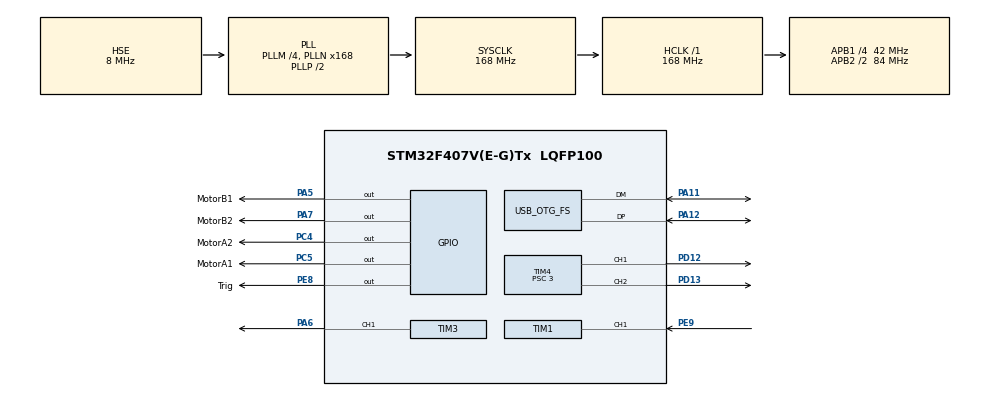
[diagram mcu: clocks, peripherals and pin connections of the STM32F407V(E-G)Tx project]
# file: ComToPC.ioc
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Mcu.Family=STM32F4
Mcu.Name=STM32F407V(E-G)Tx
Mcu.Package=LQFP100
NVIC.OTG_FS_IRQn=true\:0\:0\:false\:false\:true\:false\:true\:true
NVIC.PriorityGroup=NVIC_PRIORITYGROUP_0
NVIC.TIM1_CC_IRQn=true\:0\:0\:false\:false\:true\:true\:true\:true
PA11.Mode=Device_Only
PA11.Signal=USB_OTG_FS_DM
PA12.Mode=Device_Only
PA12.Signal=USB_OTG_FS_DP
PA13.Mode=Serial_Wire
PA13.Signal=SYS_JTMS-SWDIO
PA14.Mode=Serial_Wire
PA14.Signal=SYS_JTCK-SWCLK
PA5.GPIO_Label=MotorB1
PA5.Signal=GPIO_Output
PA6.Signal=S_TIM3_CH1
PA7.GPIO_Label=MotorB2
PA7.Signal=GPIO_Output
PC4.GPIO_Label=MotorA2
PC4.Signal=GPIO_Output
PC5.GPIO_Label=MotorA1
PC5.Signal=GPIO_Output
PD12.Signal=S_TIM4_CH1
PD13.Signal=S_TIM4_CH2
PE8.GPIO_Label=Trig
PE8.Signal=GPIO_Output
PE9.Signal=S_TIM1_CH1
PH0-OSC_IN.Mode=HSE-External-Oscillator
PH0-OSC_IN.Signal=RCC_OSC_IN
PH1-OSC_OUT.Mode=HSE-External-Oscillator
PH1-OSC_OUT.Signal=RCC_OSC_OUT
ProjectManager.HeapSize=0x200
ProjectManager.StackSize=0x400
ProjectManager.TargetToolchain=STM32CubeIDE
RCC.48MHZClocksFreq_Value=48000000
RCC.AHBFreq_Value=168000000
RCC.APB1CLKDivider=RCC_HCLK_DIV4
RCC.APB1Freq_Value=42000000
RCC.APB1TimFreq_Value=84000000
RCC.APB2CLKDivider=RCC_HCLK_DIV2
RCC.APB2Freq_Value=84000000
RCC.APB2TimFreq_Value=168000000
RCC.CortexFreq_Value=168000000
RCC.HCLKFreq_Value=168000000
RCC.HSE_VALUE=8000000
RCC.HSI_VALUE=16000000
RCC.LSE_VALUE=32768
RCC.PLLM=4
RCC.PLLN=168
RCC.PLLQ=7
RCC.SYSCLKFreq_VALUE=168000000
RCC.SYSCLKSource=RCC_SYSCLKSOURCE_PLLCLK
RCC.VCOOutputFreq_Value=336000000
SH.S_TIM1_CH1.0=TIM1_CH1,Input_Capture1_from_TI1
SH.S_TIM3_CH1.0=TIM3_CH1,PWM Generation1 CH1
SH.S_TIM4_CH1.0=TIM4_CH1,PWM Generation1 CH1
SH.S_TIM4_CH2.0=TIM4_CH2,PWM Generation2 CH2
TIM1.Channel-Input_Capture1_from_TI1=TIM_CHANNEL_1
TIM1.Prescaler=167
TIM2.AutoReloadPreload=TIM_AUTORELOAD_PRELOAD_ENABLE
TIM2.Prescaler=83
TIM3.Channel-PWM\ Generation1\ CH1=TIM_CHANNEL_1
TIM3.Period=19999
TIM3.Prescaler=83
TIM4.AutoReloadPreload=TIM_AUTORELOAD_PRELOAD_ENABLE
TIM4.Channel-PWM\ Generation1\ CH1=TIM_CHANNEL_1
TIM4.Channel-PWM\ Generation2\ CH2=TIM_CHANNEL_2
TIM4.Period=2099
TIM4.Prescaler=3
TIM4.Pulse-PWM\ Generation1\ CH1=1049
TIM4.Pulse-PWM\ Generation2\ CH2=1259
USB_DEVICE.CLASS_NAME_FS=CDC
USB_DEVICE.VirtualMode-CDC_FS=Cdc
USB_DEVICE.VirtualModeFS=Cdc_FS
USB_OTG_FS.VirtualMode=Device_Only
VP_TIM1_VS_ClockSourceINT.Mode=Internal
VP_TIM2_VS_ClockSourceINT.Mode=Internal
VP_TIM3_VS_ClockSourceINT.Mode=Internal
VP_TIM4_VS_ClockSourceINT.Mode=Internal
VP_USB_DEVICE_VS_USB_DEVICE_CDC_FS.Mode=CDC_FS
board=STM32F407G-DISC1

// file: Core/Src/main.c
/* USER CODE BEGIN Header */
/**
  ******************************************************************************
  * @file           : main.c
  * @brief          : Main program body
  ******************************************************************************
  * @attention
  *
  * Copyright (c) 2023 STMicroelectronics.
  * All rights reserved.
  *
  * This software is licensed under terms that can be found in the LICENSE file
  * in the root directory of this software component.
  * If no LICENSE file comes with this software, it is provided AS-IS.
  *
  ******************************************************************************
  */
/* USER CODE END Header */
#include "main.h"
/* USER CODE BEGIN Includes */
#include "motors.h"
#include "sensor_HCSR04.h"
/* USER CODE END Includes */

TIM_HandleTypeDef htim1;
TIM_HandleTypeDef htim2;
TIM_HandleTypeDef htim3;
TIM_HandleTypeDef htim4;

/* USER CODE BEGIN PV */
extern volatile Sensor sensor1;
/* USER CODE END PV */

void SystemClock_Config(void);
static void MX_GPIO_Init(void);
static void MX_TIM1_Init(void);
static void MX_TIM2_Init(void);
static void MX_TIM3_Init(void);
static void MX_TIM4_Init(void);

int main(void)
{

  /* MCU Configuration--------------------------------------------------------*/

  /* Reset of all peripherals, Initializes the Flash interface and the Systick. */
  HAL_Init();

  /* Configure the system clock */
  SystemClock_Config();

  /* Initialize all configured peripherals */
  MX_GPIO_Init();
  MX_USB_DEVICE_Init();
  MX_TIM1_Init();
  MX_TIM2_Init();
  MX_TIM3_Init();
  MX_TIM4_Init();
  /* USER CODE BEGIN 2 */
  HAL_TIM_IC_Start_IT(&htim1, TIM_CHANNEL_1);
  HAL_TIM_PWM_Start(&htim3, TIM_CHANNEL_1);
  HAL_TIM_PWM_Start(&htim4, TIM_CHANNEL_1);
  HAL_TIM_PWM_Start(&htim4, TIM_CHANNEL_2);
  HAL_TIM_Base_Start(&htim2);
  HAL_Delay(6000);
  /* USER CODE END 2 */

  /* Infinite loop */
  /* USER CODE BEGIN WHILE */
  while (1)
  {
	  Go(Forward);
	  Look(Forward);
	  TriggerHCSR04();
	  /*
	   * The vehicle should go forward unless there is obstacle closer than 20cm ahead
	   */
	  if(sensor1.Distance <=20)
	  {
		  Stop();
		  ScanSurroundings();
		  if(sensor1.DistanceAround[Forward]<=15)
		  {
			  Go(Backwards);
			  HAL_Delay(500);
			  Stop();
			  ScanSurroundings();
		  }
		  if(sensor1.DistanceAround[Forward]>sensor1.DistanceAround[Right] && sensor1.DistanceAround[Forward]>sensor1.DistanceAround[Left] && sensor1.DistanceAround[Forward]>=40)
		  {
			  HAL_Delay(1000);
			  Look(Forward);
			  TriggerHCSR04();
			  HAL_Delay(500);
			  continue;
		  }

		  if(sensor1.DistanceAround[Right]<sensor1.DistanceAround[Left] && sensor1.DistanceAround[Left]>=25)
		  {
			  Go(Left);
			  HAL_Delay(1000);
			  Look(Forward);
			  TriggerHCSR04();
			  HAL_Delay(500);
			  continue;
		  }
		  if(sensor1.DistanceAround[Right]>=sensor1.DistanceAround[Left] && sensor1.DistanceAround[Right]>=25)
		  {
			  Go(Right);
			  HAL_Delay(1000);
			  Look(Forward);
			  TriggerHCSR04();
			  HAL_Delay(500);
			  continue;
		  }
		  else
		  {
			  Go(Backwards);
			  HAL_Delay(500);
			  Stop();
			  HAL_Delay(1000);
			  Look(Forward);
			  TriggerHCSR04();
			  HAL_Delay(500);
			  continue;
		  }
	  }

    /* USER CODE END WHILE */

  }
}

void SystemClock_Config(void)
{
  RCC_OscInitTypeDef RCC_OscInitStruct = {0};
  RCC_ClkInitTypeDef RCC_ClkInitStruct = {0};

  /** Configure the main internal regulator output voltage
  */
  __HAL_RCC_PWR_CLK_ENABLE();
  __HAL_PWR_VOLTAGESCALING_CONFIG(PWR_REGULATOR_VOLTAGE_SCALE1);

  /** Initializes the RCC Oscillators according to the specified parameters
  * in the RCC_OscInitTypeDef structure.
  */
  RCC_OscInitStruct.OscillatorType = RCC_OSCILLATORTYPE_HSE;
  RCC_OscInitStruct.HSEState = RCC_HSE_ON;
  RCC_OscInitStruct.PLL.PLLState = RCC_PLL_ON;
  RCC_OscInitStruct.PLL.PLLSource = RCC_PLLSOURCE_HSE;
  RCC_OscInitStruct.PLL.PLLM = 4;
  RCC_OscInitStruct.PLL.PLLN = 168;
  RCC_OscInitStruct.PLL.PLLP = RCC_PLLP_DIV2;
  RCC_OscInitStruct.PLL.PLLQ = 7;
  if (HAL_RCC_OscConfig(&RCC_OscInitStruct) != HAL_OK)
  {
    Error_Handler();
  }

  /** Initializes the CPU, AHB and APB buses clocks
  */
  RCC_ClkInitStruct.ClockType = RCC_CLOCKTYPE_HCLK|RCC_CLOCKTYPE_SYSCLK
                              |RCC_CLOCKTYPE_PCLK1|RCC_CLOCKTYPE_PCLK2;
  RCC_ClkInitStruct.SYSCLKSource = RCC_SYSCLKSOURCE_PLLCLK;
  RCC_ClkInitStruct.AHBCLKDivider = RCC_SYSCLK_DIV1;
  RCC_ClkInitStruct.APB1CLKDivider = RCC_HCLK_DIV4;
  RCC_ClkInitStruct.APB2CLKDivider = RCC_HCLK_DIV2;

  if (HAL_RCC_ClockConfig(&RCC_ClkInitStruct, FLASH_LATENCY_5) != HAL_OK)
  {
    Error_Handler();
  }
}

static void MX_TIM1_Init(void)
{

  TIM_ClockConfigTypeDef sClockSourceConfig = {0};
  TIM_MasterConfigTypeDef sMasterConfig = {0};
  TIM_IC_InitTypeDef sConfigIC = {0};

  htim1.Instance = TIM1;
  htim1.Init.Prescaler = 167;
  htim1.Init.CounterMode = TIM_COUNTERMODE_UP;
  htim1.Init.Period = 65535;
  htim1.Init.ClockDivision = TIM_CLOCKDIVISION_DIV1;
  htim1.Init.RepetitionCounter = 0;
  htim1.Init.AutoReloadPreload = TIM_AUTORELOAD_PRELOAD_DISABLE;
  if (HAL_TIM_Base_Init(&htim1) != HAL_OK)
  {
    Error_Handler();
  }
  sClockSourceConfig.ClockSource = TIM_CLOCKSOURCE_INTERNAL;
  if (HAL_TIM_ConfigClockSource(&htim1, &sClockSourceConfig) != HAL_OK)
  {
    Error_Handler();
  }
  if (HAL_TIM_IC_Init(&htim1) != HAL_OK)
  {
    Error_Handler();
  }
  sMasterConfig.MasterOutputTrigger = TIM_TRGO_RESET;
  sMasterConfig.MasterSlaveMode = TIM_MASTERSLAVEMODE_DISABLE;
  if (HAL_TIMEx_MasterConfigSynchronization(&htim1, &sMasterConfig) != HAL_OK)
  {
    Error_Handler();
  }
  sConfigIC.ICPolarity = TIM_INPUTCHANNELPOLARITY_RISING;
  sConfigIC.ICSelection = TIM_ICSELECTION_DIRECTTI;
  sConfigIC.ICPrescaler = TIM_ICPSC_DIV1;
  sConfigIC.ICFilter = 0;
  if (HAL_TIM_IC_ConfigChannel(&htim1, &sConfigIC, TIM_CHANNEL_1) != HAL_OK)
  {
    Error_Handler();
  }

}

static void MX_TIM2_Init(void)
{

  TIM_ClockConfigTypeDef sClockSourceConfig = {0};
  TIM_MasterConfigTypeDef sMasterConfig = {0};

  htim2.Instance = TIM2;
  htim2.Init.Prescaler = 83;
  htim2.Init.CounterMode = TIM_COUNTERMODE_UP;
  htim2.Init.Period = 4294967295;
  htim2.Init.ClockDivision = TIM_CLOCKDIVISION_DIV1;
  htim2.Init.AutoReloadPreload = TIM_AUTORELOAD_PRELOAD_ENABLE;
  if (HAL_TIM_Base_Init(&htim2) != HAL_OK)
  {
    Error_Handler();
  }
  sClockSourceConfig.ClockSource = TIM_CLOCKSOURCE_INTERNAL;
  if (HAL_TIM_ConfigClockSource(&htim2, &sClockSourceConfig) != HAL_OK)
  {
    Error_Handler();
  }
  sMasterConfig.MasterOutputTrigger = TIM_TRGO_RESET;
  sMasterConfig.MasterSlaveMode = TIM_MASTERSLAVEMODE_DISABLE;
  if (HAL_TIMEx_MasterConfigSynchronization(&htim2, &sMasterConfig) != HAL_OK)
  {
    Error_Handler();
  }

}

static void MX_TIM3_Init(void)
{

  TIM_ClockConfigTypeDef sClockSourceConfig = {0};
  TIM_MasterConfigTypeDef sMasterConfig = {0};
  TIM_OC_InitTypeDef sConfigOC = {0};

  htim3.Instance = TIM3;
  htim3.Init.Prescaler = 83;
  htim3.Init.CounterMode = TIM_COUNTERMODE_UP;
  htim3.Init.Period = 19999;
  htim3.Init.ClockDivision = TIM_CLOCKDIVISION_DIV1;
  htim3.Init.AutoReloadPreload = TIM_AUTORELOAD_PRELOAD_DISABLE;
  if (HAL_TIM_Base_Init(&htim3) != HAL_OK)
  {
    Error_Handler();
  }
  sClockSourceConfig.ClockSource = TIM_CLOCKSOURCE_INTERNAL;
  if (HAL_TIM_ConfigClockSource(&htim3, &sClockSourceConfig) != HAL_OK)
  {
    Error_Handler();
  }
  if (HAL_TIM_PWM_Init(&htim3) != HAL_OK)
  {
    Error_Handler();
  }
  sMasterConfig.MasterOutputTrigger = TIM_TRGO_RESET;
  sMasterConfig.MasterSlaveMode = TIM_MASTERSLAVEMODE_DISABLE;
  if (HAL_TIMEx_MasterConfigSynchronization(&htim3, &sMasterConfig) != HAL_OK)
  {
    Error_Handler();
  }
  sConfigOC.OCMode = TIM_OCMODE_PWM1;
  sConfigOC.Pulse = 0;
  sConfigOC.OCPolarity = TIM_OCPOLARITY_HIGH;
  sConfigOC.OCFastMode = TIM_OCFAST_DISABLE;
  if (HAL_TIM_PWM_ConfigChannel(&htim3, &sConfigOC, TIM_CHANNEL_1) != HAL_OK)
  {
    Error_Handler();
  }
  HAL_TIM_MspPostInit(&htim3);

}

static void MX_TIM4_Init(void)
{

  TIM_ClockConfigTypeDef sClockSourceConfig = {0};
  TIM_MasterConfigTypeDef sMasterConfig = {0};
  TIM_OC_InitTypeDef sConfigOC = {0};

  htim4.Instance = TIM4;
  htim4.Init.Prescaler = 3;
  htim4.Init.CounterMode = TIM_COUNTERMODE_UP;
  htim4.Init.Period = 2099;
  htim4.Init.ClockDivision = TIM_CLOCKDIVISION_DIV1;
  htim4.Init.AutoReloadPreload = TIM_AUTORELOAD_PRELOAD_ENABLE;
  if (HAL_TIM_Base_Init(&htim4) != HAL_OK)
  {
    Error_Handler();
  }
  sClockSourceConfig.ClockSource = TIM_CLOCKSOURCE_INTERNAL;
  if (HAL_TIM_ConfigClockSource(&htim4, &sClockSourceConfig) != HAL_OK)
  {
    Error_Handler();
  }
  if (HAL_TIM_PWM_Init(&htim4) != HAL_OK)
  {
    Error_Handler();
  }
  sMasterConfig.MasterOutputTrigger = TIM_TRGO_RESET;
  sMasterConfig.MasterSlaveMode = TIM_MASTERSLAVEMODE_DISABLE;
  if (HAL_TIMEx_MasterConfigSynchronization(&htim4, &sMasterConfig) != HAL_OK)
  {
    Error_Handler();
  }
  sConfigOC.OCMode = TIM_OCMODE_PWM1;
  sConfigOC.Pulse = 1049;
  sConfigOC.OCPolarity = TIM_OCPOLARITY_HIGH;
  sConfigOC.OCFastMode = TIM_OCFAST_DISABLE;
  if (HAL_TIM_PWM_ConfigChannel(&htim4, &sConfigOC, TIM_CHANNEL_1) != HAL_OK)
  {
    Error_Handler();
  }
  sConfigOC.Pulse = 1259;
  if (HAL_TIM_PWM_ConfigChannel(&htim4, &sConfigOC, TIM_CHANNEL_2) != HAL_OK)
  {
    Error_Handler();
  }
  HAL_TIM_MspPostInit(&htim4);

}

static void MX_GPIO_Init(void)
{
  GPIO_InitTypeDef GPIO_InitStruct = {0};

  /* GPIO Ports Clock Enable */
  __HAL_RCC_GPIOH_CLK_ENABLE();
  __HAL_RCC_GPIOA_CLK_ENABLE();
  __HAL_RCC_GPIOC_CLK_ENABLE();
  __HAL_RCC_GPIOE_CLK_ENABLE();
  __HAL_RCC_GPIOD_CLK_ENABLE();

  /*Configure GPIO pin Output Level */
  HAL_GPIO_WritePin(GPIOA, MotorB1_Pin|MotorB2_Pin, GPIO_PIN_RESET);

  /*Configure GPIO pin Output Level */
  HAL_GPIO_WritePin(GPIOC, MotorA2_Pin|MotorA1_Pin, GPIO_PIN_RESET);

  /*Configure GPIO pin Output Level */
  HAL_GPIO_WritePin(Trig_GPIO_Port, Trig_Pin, GPIO_PIN_RESET);

  /*Configure GPIO pins : MotorB1_Pin MotorB2_Pin */
  GPIO_InitStruct.Pin = MotorB1_Pin|MotorB2_Pin;
  GPIO_InitStruct.Mode = GPIO_MODE_OUTPUT_PP;
  GPIO_InitStruct.Pull = GPIO_NOPULL;
  GPIO_InitStruct.Speed = GPIO_SPEED_FREQ_LOW;
  HAL_GPIO_Init(GPIOA, &GPIO_InitStruct);

  /*Configure GPIO pins : MotorA2_Pin MotorA1_Pin */
  GPIO_InitStruct.Pin = MotorA2_Pin|MotorA1_Pin;
  GPIO_InitStruct.Mode = GPIO_MODE_OUTPUT_PP;
  GPIO_InitStruct.Pull = GPIO_NOPULL;
  GPIO_InitStruct.Speed = GPIO_SPEED_FREQ_LOW;
  HAL_GPIO_Init(GPIOC, &GPIO_InitStruct);

  /*Configure GPIO pin : Trig_Pin */
  GPIO_InitStruct.Pin = Trig_Pin;
  GPIO_InitStruct.Mode = GPIO_MODE_OUTPUT_PP;
  GPIO_InitStruct.Pull = GPIO_NOPULL;
  GPIO_InitStruct.Speed = GPIO_SPEED_FREQ_LOW;
  HAL_GPIO_Init(Trig_GPIO_Port, &GPIO_InitStruct);

}

void Error_Handler(void)
{
  __disable_irq();
  while (1)
  {
  }
}
